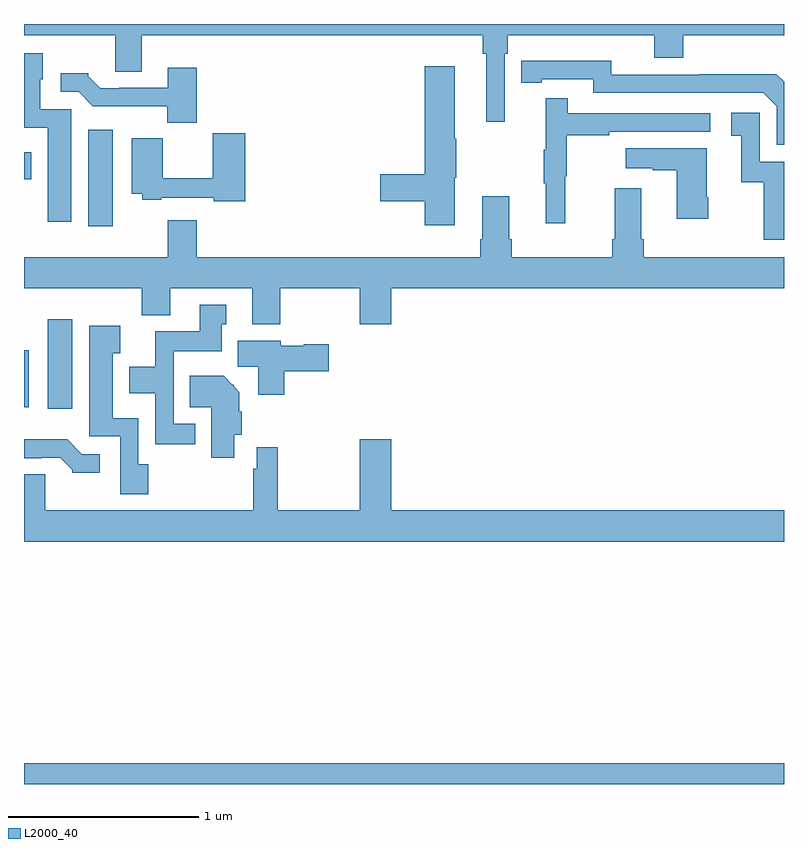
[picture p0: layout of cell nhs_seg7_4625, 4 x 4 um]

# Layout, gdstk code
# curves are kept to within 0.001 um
import gdstk
lib = gdstk.Library(unit=1e-6, precision=1e-09)
def R(c, l, rs):  # rectangles x0, y0, x1, y1
    for r in rs: c.add(gdstk.rectangle(r[:2], r[2:], *l))
def P(c, l, *ps):  # polygons
    for p in ps: c.add(gdstk.Polygon(p, *l))
L2000_40 = (2000, 40)

nhs_seg7_4625 = lib.new_cell('nhs_seg7_4625')
R(nhs_seg7_4625, L2000_40, [(403,1006,407,1006.108), (403.124,1007.976,403.255,1008.445), (403,1007.984,403.024,1008.283), (403.337,1008.936,403.468,1009.444), (403,1009.184,403.039,1009.324)])
P(nhs_seg7_4625, L2000_40, [(405.531,1009.844),(405.545,1009.844),(405.545,1009.94),(406.316,1009.94),(406.316,1009.823),(406.469,1009.823),(406.469,1009.94),(407,1009.94),(407,1010),(403,1010),(403,1009.94),(403.481,1009.94),(403.481,1009.75),(403.621,1009.75),(403.621,1009.94),(405.415,1009.94),(405.415,1009.844),(405.434,1009.844),(405.434,1009.485),(405.531,1009.485)],
  [(403.249,1009.551),(403.086,1009.551),(403.086,1009.71),(403.099,1009.71),(403.099,1009.846),(403,1009.846),(403,1009.454),(403.124,1009.454),(403.124,1008.96),(403.249,1008.96)],
  [(407,1009.696),(406.96,1009.736),(406.552,1009.736),(406.552,1009.734),(406.092,1009.734),(406.092,1009.807),(405.616,1009.806),(405.616,1009.69),(405.724,1009.69),(405.724,1009.71),(405.996,1009.71),(405.996,1009.638),(406.89,1009.638),(406.962,1009.566),(406.962,1009.365),(407,1009.365)],
  [(405.268,1009.191),(405.276,1009.191),(405.276,1009.397),(405.268,1009.397),(405.268,1009.777),(405.11,1009.777),(405.11,1009.208),(404.874,1009.208),(404.874,1009.066),(405.11,1009.066),(405.11,1008.942),(405.268,1008.942)],
  [(403.91,1009.771),(403.757,1009.771),(403.757,1009.665),(403.501,1009.665),(403.501,1009.662),(403.402,1009.662),(403.338,1009.726),(403.338,1009.741),(403.194,1009.741),(403.194,1009.644),(403.287,1009.644),(403.363,1009.568),(403.755,1009.568),(403.755,1009.481),(403.91,1009.481)],
  [(405.848,1009.2),(405.856,1009.2),(405.856,1009.414),(406.079,1009.414),(406.079,1009.434),(406.612,1009.434),(406.612,1009.53),(405.863,1009.53),(405.863,1009.609),(405.746,1009.609),(405.746,1009.337),(405.735,1009.337),(405.735,1009.163),(405.746,1009.163),(405.746,1008.951),(405.848,1008.951)],
  [(407,1009.275),(406.872,1009.275),(406.872,1009.534),(406.722,1009.534),(406.722,1009.413),(406.775,1009.413),(406.775,1009.167),(406.893,1009.167),(406.893,1008.864),(407,1008.864)],
  [(404.165,1009.426),(403.994,1009.426),(403.994,1009.187),(403.73,1009.187),(403.73,1009.399),(403.568,1009.399),(403.568,1009.106),(403.623,1009.106),(403.623,1009.074),(403.723,1009.074),(403.723,1009.086),(403.998,1009.086),(403.998,1009.066),(404.165,1009.066)],
  [(406.602,1009.087),(406.594,1009.087),(406.594,1009.345),(406.167,1009.345),(406.167,1009.241),(406.31,1009.241),(406.31,1009.231),(406.436,1009.231),(406.436,1008.975),(406.602,1008.975)],
  [(404.349,1008.608),(404.768,1008.608),(404.768,1008.42),(404.932,1008.42),(404.932,1008.608),(407,1008.608),(407,1008.772),(406.262,1008.772),(406.262,1008.868),(406.249,1008.868),(406.249,1009.135),(406.109,1009.135),(406.109,1008.868),(406.097,1008.868),(406.097,1008.772),(405.566,1008.772),(405.566,1008.868),(405.553,1008.868),(405.553,1009.093),(405.413,1009.093),(405.413,1008.868),(405.401,1008.868),(405.401,1008.772),(403.91,1008.772),(403.91,1008.967),(403.757,1008.967),(403.757,1008.772),(403,1008.772),(403,1008.608),(403.619,1008.608),(403.619,1008.467),(403.771,1008.467),(403.771,1008.608),(404.201,1008.608),(404.201,1008.419),(404.349,1008.419)],
  [(403.9,1007.895),(403.788,1007.895),(403.788,1008.278),(404.041,1008.278),(404.041,1008.42),(404.065,1008.42),(404.065,1008.523),(403.925,1008.523),(403.925,1008.382),(403.691,1008.382),(403.691,1008.195),(403.553,1008.195),(403.553,1008.056),(403.692,1008.056),(403.692,1007.787),(403.9,1007.787)],
  [(403.655,1007.682),(403.602,1007.682),(403.602,1007.926),(403.468,1007.926),(403.468,1008.266),(403.507,1008.266),(403.507,1008.412),(403.343,1008.412),(403.343,1007.829),(403.506,1007.829),(403.506,1007.526),(403.655,1007.526)],
  [(404.369,1008.173),(404.605,1008.173),(404.605,1008.315),(404.472,1008.315),(404.472,1008.307),(404.352,1008.307),(404.352,1008.334),(404.126,1008.334),(404.126,1008.195),(404.234,1008.195),(404.234,1008.048),(404.369,1008.048)],
  [(404.107,1007.838),(404.147,1007.838),(404.147,1007.96),(404.134,1007.96),(404.134,1008.063),(404.103,1008.094),(404.103,1008.102),(404.097,1008.102),(404.051,1008.148),(403.873,1008.148),(403.873,1007.984),(403.985,1007.984),(403.985,1007.718),(404.107,1007.718)],
  [(403.399,1007.736),(403.305,1007.736),(403.227,1007.815),(403,1007.815),(403,1007.715),(403.091,1007.715),(403.091,1007.718),(403.19,1007.718),(403.254,1007.654),(403.254,1007.639),(403.399,1007.639)],
  [(407,1007.44),(404.932,1007.44),(404.932,1007.815),(404.768,1007.815),(404.768,1007.44),(404.335,1007.44),(404.335,1007.773),(404.226,1007.773),(404.226,1007.66),(404.206,1007.66),(404.206,1007.44),(403.111,1007.44),(403.111,1007.63),(403,1007.63),(403,1007.276),(407,1007.276)])

lib.write_gds('nhs_seg7_4625.gds')
